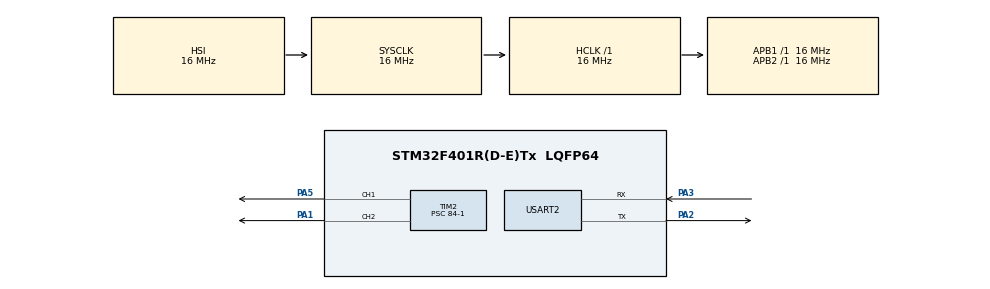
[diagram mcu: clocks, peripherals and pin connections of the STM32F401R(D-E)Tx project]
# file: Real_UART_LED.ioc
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Mcu.Family=STM32F4
Mcu.Name=STM32F401R(D-E)Tx
Mcu.Package=LQFP64
NVIC.PriorityGroup=NVIC_PRIORITYGROUP_4
PA1.Signal=S_TIM2_CH2
PA2.Mode=Asynchronous
PA2.Signal=USART2_TX
PA3.Mode=Asynchronous
PA3.Signal=USART2_RX
PA5.Signal=S_TIM2_CH1_ETR
ProjectManager.HeapSize=0x200
ProjectManager.StackSize=0x400
ProjectManager.TargetToolchain=STM32CubeIDE
RCC.AHBFreq_Value=16000000
RCC.APB1Freq_Value=16000000
RCC.APB2Freq_Value=16000000
RCC.CortexFreq_Value=16000000
RCC.HSE_VALUE=25000000
RCC.HSI_VALUE=16000000
RCC.LSE_VALUE=32768
RCC.SYSCLKFreq_VALUE=16000000
RCC.VCOOutputFreq_Value=192000000
SH.S_TIM2_CH1_ETR.0=TIM2_CH1,PWM Generation1 CH1
SH.S_TIM2_CH2.0=TIM2_CH2,PWM Generation2 CH2
TIM2.Channel-PWM\ Generation1\ CH1=TIM_CHANNEL_1
TIM2.Channel-PWM\ Generation2\ CH2=TIM_CHANNEL_2
TIM2.Period=100-1
TIM2.Prescaler=84-1
USART2.VirtualMode=VM_ASYNC
VP_TIM2_VS_ClockSourceINT.Mode=Internal
board=custom

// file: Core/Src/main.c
/* USER CODE BEGIN Header */
/**
  ******************************************************************************
  * @file           : main.c
  * @brief          : Main program body
  ******************************************************************************
  * @attention
  *
  * Copyright (c) 2026 STMicroelectronics.
  * All rights reserved.
  *
  * This software is licensed under terms that can be found in the LICENSE file
  * in the root directory of this software component.
  * If no LICENSE file comes with this software, it is provided AS-IS.
  *
  ******************************************************************************
  */
/* USER CODE END Header */
#include "main.h"

/* USER CODE BEGIN Includes */

#include <stdio.h>
#include <string.h>

/* USER CODE END Includes */

TIM_HandleTypeDef htim2;

UART_HandleTypeDef huart2;

/* USER CODE BEGIN PV */

uint8_t input_number = 0;

/* USER CODE END PV */

void SystemClock_Config(void);
static void MX_GPIO_Init(void);
static void MX_TIM2_Init(void);
static void MX_USART2_UART_Init(void);

int main(void)
{

  /* MCU Configuration--------------------------------------------------------*/

  /* Reset of all peripherals, Initializes the Flash interface and the Systick. */
  HAL_Init();

  /* Configure the system clock */
  SystemClock_Config();

  /* Initialize all configured peripherals */
  MX_GPIO_Init();
  MX_TIM2_Init();
  MX_USART2_UART_Init();
  /* USER CODE BEGIN 2 */

  HAL_TIM_PWM_Start(&htim2, TIM_CHANNEL_1);
  HAL_TIM_PWM_Start(&htim2, TIM_CHANNEL_2);

  /* USER CODE END 2 */

  /* Infinite loop */
  while (1)
  {

    /* USER CODE BEGIN 3 */
	  /* USER CODE BEGIN 3 */
	      uint8_t received_byte;

	      if (HAL_UART_Receive(&huart2, &received_byte, 1, HAL_MAX_DELAY) == HAL_OK)
	      {
	          if (received_byte >= '0' && received_byte <= '9')
	          {
	              input_number = input_number * 10 + (received_byte - '0');
	          }
	          else if (received_byte == '\r' || received_byte == '\n')
	          {
	              if (input_number > 100) input_number = 100;

	              // Applying the brightness using HAL function
	              __HAL_TIM_SET_COMPARE(&htim2, TIM_CHANNEL_1, input_number);
	              __HAL_TIM_SET_COMPARE(&htim2, TIM_CHANNEL_2, input_number);

	              // Send confirmation back to the terminal
	              char message[40];
	              sprintf(message, "Brightness set to %d%%\r\n", input_number);
	              HAL_UART_Transmit(&huart2, (uint8_t*)message, strlen(message), HAL_MAX_DELAY);

	              // Reset for the next number
	              input_number = 0;
	          }
	      }
	    }
  /* USER CODE END 3 */
}

void SystemClock_Config(void)
{
  RCC_OscInitTypeDef RCC_OscInitStruct = {0};
  RCC_ClkInitTypeDef RCC_ClkInitStruct = {0};

  /** Configure the main internal regulator output voltage
  */
  __HAL_RCC_PWR_CLK_ENABLE();
  __HAL_PWR_VOLTAGESCALING_CONFIG(PWR_REGULATOR_VOLTAGE_SCALE2);

  /** Initializes the RCC Oscillators according to the specified parameters
  * in the RCC_OscInitTypeDef structure.
  */
  RCC_OscInitStruct.OscillatorType = RCC_OSCILLATORTYPE_HSI;
  RCC_OscInitStruct.HSIState = RCC_HSI_ON;
  RCC_OscInitStruct.HSICalibrationValue = RCC_HSICALIBRATION_DEFAULT;
  RCC_OscInitStruct.PLL.PLLState = RCC_PLL_NONE;
  if (HAL_RCC_OscConfig(&RCC_OscInitStruct) != HAL_OK)
  {
    Error_Handler();
  }

  /** Initializes the CPU, AHB and APB buses clocks
  */
  RCC_ClkInitStruct.ClockType = RCC_CLOCKTYPE_HCLK|RCC_CLOCKTYPE_SYSCLK
                              |RCC_CLOCKTYPE_PCLK1|RCC_CLOCKTYPE_PCLK2;
  RCC_ClkInitStruct.SYSCLKSource = RCC_SYSCLKSOURCE_HSI;
  RCC_ClkInitStruct.AHBCLKDivider = RCC_SYSCLK_DIV1;
  RCC_ClkInitStruct.APB1CLKDivider = RCC_HCLK_DIV1;
  RCC_ClkInitStruct.APB2CLKDivider = RCC_HCLK_DIV1;

  if (HAL_RCC_ClockConfig(&RCC_ClkInitStruct, FLASH_LATENCY_0) != HAL_OK)
  {
    Error_Handler();
  }
}

static void MX_TIM2_Init(void)
{

  TIM_ClockConfigTypeDef sClockSourceConfig = {0};
  TIM_MasterConfigTypeDef sMasterConfig = {0};
  TIM_OC_InitTypeDef sConfigOC = {0};

  htim2.Instance = TIM2;
  htim2.Init.Prescaler = 84-1;
  htim2.Init.CounterMode = TIM_COUNTERMODE_UP;
  htim2.Init.Period = 100-1;
  htim2.Init.ClockDivision = TIM_CLOCKDIVISION_DIV1;
  htim2.Init.AutoReloadPreload = TIM_AUTORELOAD_PRELOAD_DISABLE;
  if (HAL_TIM_Base_Init(&htim2) != HAL_OK)
  {
    Error_Handler();
  }
  sClockSourceConfig.ClockSource = TIM_CLOCKSOURCE_INTERNAL;
  if (HAL_TIM_ConfigClockSource(&htim2, &sClockSourceConfig) != HAL_OK)
  {
    Error_Handler();
  }
  if (HAL_TIM_PWM_Init(&htim2) != HAL_OK)
  {
    Error_Handler();
  }
  sMasterConfig.MasterOutputTrigger = TIM_TRGO_RESET;
  sMasterConfig.MasterSlaveMode = TIM_MASTERSLAVEMODE_DISABLE;
  if (HAL_TIMEx_MasterConfigSynchronization(&htim2, &sMasterConfig) != HAL_OK)
  {
    Error_Handler();
  }
  sConfigOC.OCMode = TIM_OCMODE_PWM1;
  sConfigOC.Pulse = 0;
  sConfigOC.OCPolarity = TIM_OCPOLARITY_HIGH;
  sConfigOC.OCFastMode = TIM_OCFAST_DISABLE;
  if (HAL_TIM_PWM_ConfigChannel(&htim2, &sConfigOC, TIM_CHANNEL_1) != HAL_OK)
  {
    Error_Handler();
  }
  if (HAL_TIM_PWM_ConfigChannel(&htim2, &sConfigOC, TIM_CHANNEL_2) != HAL_OK)
  {
    Error_Handler();
  }
  HAL_TIM_MspPostInit(&htim2);

}

static void MX_USART2_UART_Init(void)
{

  huart2.Instance = USART2;
  huart2.Init.BaudRate = 115200;
  huart2.Init.WordLength = UART_WORDLENGTH_8B;
  huart2.Init.StopBits = UART_STOPBITS_1;
  huart2.Init.Parity = UART_PARITY_NONE;
  huart2.Init.Mode = UART_MODE_TX_RX;
  huart2.Init.HwFlowCtl = UART_HWCONTROL_NONE;
  huart2.Init.OverSampling = UART_OVERSAMPLING_16;
  if (HAL_UART_Init(&huart2) != HAL_OK)
  {
    Error_Handler();
  }

}

static void MX_GPIO_Init(void)
{

  /* GPIO Ports Clock Enable */
  __HAL_RCC_GPIOA_CLK_ENABLE();

}

void Error_Handler(void)
{
  __disable_irq();
  while (1)
  {
  }
}
